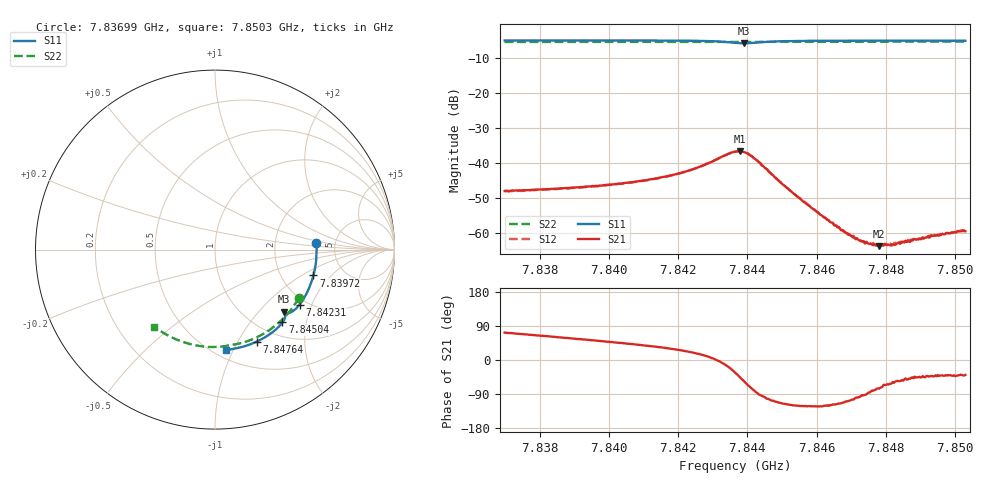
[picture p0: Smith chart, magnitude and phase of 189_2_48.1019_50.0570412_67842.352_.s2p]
#  HZ  S  RI  R  50.00
! Rohde & Schwarz Vector Network Analyzer
! Rohde-Schwarz,ZNB20-2Port,1311601062101988,3.16
! Created: UTC 12/23/2023, 3:53:34 AM
! freq[Hz]  re:S11  im:S11  re:S21  im:S21  re:S12  im:S12  re:S22  im:S22
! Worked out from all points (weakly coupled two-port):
!   401 points, 7.83699 GHz to 7.8503 GHz, reference 50 ohm
!   highest |S21| = -36.62 dB at 7.84378 GHz (marker M1); lowest = -63.9 dB at 7.8478 GHz (marker M2)
!   lowest |S11| = -5.7 dB at 7.84391 GHz (marker M3), VSWR 3.14, Z = 73.5 - j69.3 ohm
!   |S11| at or under -10 dB: nowhere
!   |S22| runs from -5.4 to -5.3 dB; largest |S21 - S12| = 0.00028
!   S11 on the Smith chart (normalised r, x): 7.83699 GHz: 3.57, +0.38; 7.83972 GHz: 3.02, -1.28; 7.84231 GHz: 1.83, -1.64; 7.84504 GHz: 1.25, -1.46; 7.84764 GHz: 0.80, -1.20; 7.8503 GHz: 0.57, -0.94
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7.836993e9  0.565 0.0362  0.0012 0.00376  0.00124 0.00368  0.4674 -0.2696
7.839221e9  0.5558 -0.1114  0.0026 0.00366  0.00256 0.00358  0.3716 -0.3923
7.83972e9  0.5482 -0.1442  0.003 0.00362  0.00294 0.00357  0.3455 -0.4156
7.840684e9  0.5277 -0.206  0.00394 0.00352  0.00386 0.00354  0.2911 -0.4559
7.841449e9  0.5053 -0.254  0.00505 0.00339  0.00501 0.00339  0.2447 -0.4827
7.842314e9  0.4715 -0.3064  0.00721 0.00287  0.00711 0.00292  0.1889 -0.5072
7.843145e9  0.4233 -0.349  0.0113 -0.000304  0.0114 -0.000183  0.133 -0.524
7.843644e9  0.3884 -0.3521  0.0122 -0.00786  0.012 -0.00773  0.0995 -0.5298
7.843777e9  0.3843 -0.3482  0.0105 -0.0104  0.0105 -0.0102  0.0909 -0.5312
7.84391e9  0.384 -0.3454  0.00782 -0.0119  0.00777 -0.0118  0.0826 -0.5326
7.844077e9  0.388 -0.3461  0.0041 -0.0122  0.00415 -0.0122  0.0721 -0.5347
7.844243e9  0.3921 -0.3527  0.00101 -0.0111  0.00121 -0.0112  0.0612 -0.5369
7.845041e9  0.3761 -0.4054  -0.00207 -0.00437  -0.00205 -0.00438  0.00557 -0.5425
7.845872e9  0.3348 -0.4488  -0.00118 -0.00189  -0.0012 -0.00188  -0.0532 -0.5408
7.84677e9  0.2843 -0.4851  -0.000394 -0.000967  -0.000383 -0.00101  -0.1157 -0.5317
7.84697e9  0.2727 -0.4919  -0.000266 -0.000885  -0.000231 -0.000881  -0.1293 -0.5286
7.847336e9  0.2508 -0.5036  -4.98e-05 -0.000754  -5.64e-05 -0.000748  -0.1542 -0.5222
7.847635e9  0.2326 -0.5125  0.000103 -0.00065  8.52e-05 -0.000705  -0.1744 -0.516
7.847801e9  0.2225 -0.5169  0.000159 -0.000618  0.000209 -0.000626  -0.1854 -0.5123
7.848101e9  0.2039 -0.5248  0.000297 -0.000593  0.000294 -0.000613  -0.2049 -0.505
7.849331e9  0.1255 -0.5487  0.000672 -0.000607  0.000655 -0.000587  -0.2824 -0.4669
7.850296e9  0.062 -0.5591  0.000808 -0.000662  0.000831 -0.000699  -0.3381 -0.4287
